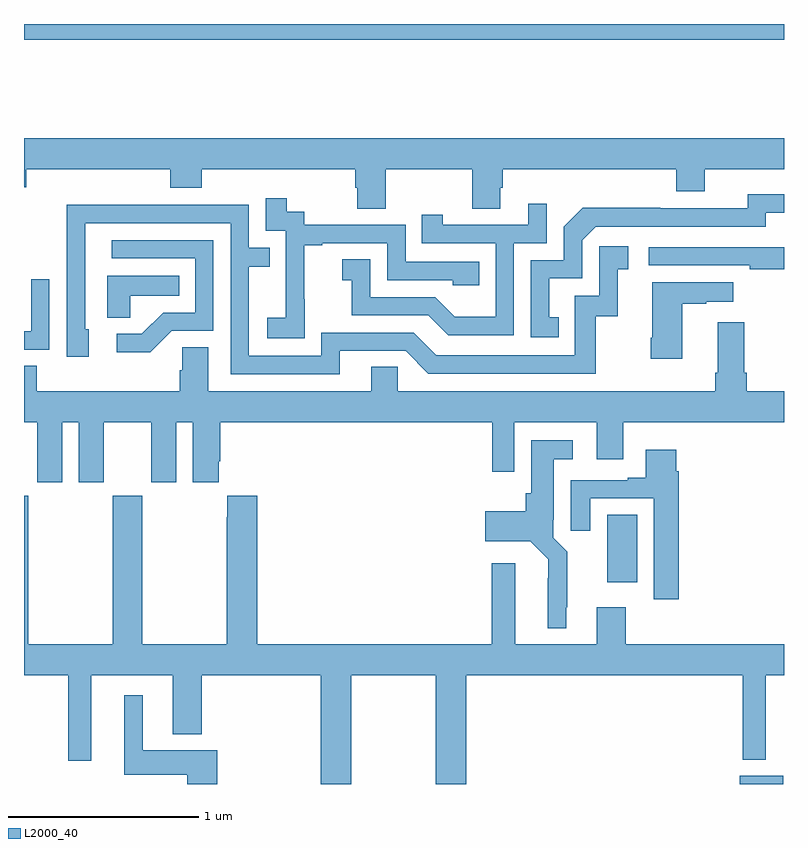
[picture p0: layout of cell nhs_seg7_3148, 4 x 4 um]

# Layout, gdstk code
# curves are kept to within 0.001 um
import gdstk
lib = gdstk.Library(unit=1e-6, precision=1e-09)
def R(c, l, rs):  # rectangles x0, y0, x1, y1
    for r in rs: c.add(gdstk.rectangle(r[:2], r[2:], *l))
def P(c, l, *ps):  # polygons
    for p in ps: c.add(gdstk.Polygon(p, *l))
L2000_40 = (2000, 40)

nhs_seg7_3148 = lib.new_cell('nhs_seg7_3148')
R(nhs_seg7_3148, L2000_40, [(314.768,1044,314.995,1044.043), (314.069,1045.062,314.227,1045.418), (311,1047.916,315,1048)])
P(nhs_seg7_3148, L2000_40, [(312.903,1047.236),(313.36,1047.236),(313.36,1047.028),(313.507,1047.028),(313.507,1047.138),(313.52,1047.138),(313.52,1047.236),(314.432,1047.236),(314.432,1047.119),(314.584,1047.119),(314.584,1047.236),(315,1047.236),(315,1047.4),(311,1047.4),(311,1047.14),(311.012,1047.14),(311.012,1047.236),(311.771,1047.236),(311.771,1047.137),(311.936,1047.137),(311.936,1047.236),(312.743,1047.236),(312.743,1047.138),(312.755,1047.138),(312.755,1047.028),(312.903,1047.028)],
  [(313.814,1046.457),(313.765,1046.457),(313.765,1046.661),(313.938,1046.661),(313.938,1046.862),(314.01,1046.934),(314.904,1046.934),(314.904,1047.006),(315,1047.006),(315,1047.103),(314.808,1047.103),(314.808,1047.03),(314.348,1047.03),(314.348,1047.032),(313.94,1047.032),(313.842,1046.934),(313.842,1046.757),(313.668,1046.757),(313.668,1046.352),(313.814,1046.352)],
  [(312.477,1046.551),(312.476,1046.551),(312.476,1046.835),(312.571,1046.835),(312.571,1046.847),(312.912,1046.847),(312.912,1046.652),(313.257,1046.652),(313.257,1046.625),(313.397,1046.625),(313.397,1046.748),(313.008,1046.748),(313.008,1046.943),(312.474,1046.943),(312.474,1047.012),(312.382,1047.012),(312.382,1047.082),(312.273,1047.082),(312.273,1046.913),(312.378,1046.913),(312.378,1046.684),(312.377,1046.684),(312.377,1046.455),(312.279,1046.455),(312.279,1046.345),(312.477,1046.345)],
  [(313.578,1046.847),(313.752,1046.847),(313.752,1047.055),(313.655,1047.055),(313.655,1046.943),(313.204,1046.943),(313.204,1046.995),(313.093,1046.995),(313.093,1046.847),(313.482,1046.847),(313.482,1046.458),(313.268,1046.458),(313.164,1046.562),(312.822,1046.562),(312.822,1046.761),(312.675,1046.761),(312.675,1046.651),(312.724,1046.651),(312.724,1046.466),(313.127,1046.466),(313.232,1046.361),(313.578,1046.361)],
  [(312.661,1046.28),(313.008,1046.28),(313.128,1046.16),(314.008,1046.16),(314.008,1046.463),(314.126,1046.463),(314.126,1046.709),(314.179,1046.709),(314.179,1046.83),(314.028,1046.83),(314.028,1046.571),(313.899,1046.571),(313.899,1046.256),(313.17,1046.256),(313.05,1046.376),(312.564,1046.376),(312.564,1046.253),(312.183,1046.253),(312.183,1046.722),(312.293,1046.722),(312.293,1046.823),(312.183,1046.823),(312.183,1047.048),(311.687,1047.048),(311.687,1047.05),(311.224,1047.05),(311.224,1046.743),(311.226,1046.743),(311.226,1046.25),(311.341,1046.25),(311.341,1046.394),(311.322,1046.394),(311.322,1046.952),(312.087,1046.952),(312.087,1046.157),(312.661,1046.157)],
  [(311.778,1046.385),(311.997,1046.385),(311.997,1046.862),(311.463,1046.862),(311.463,1046.766),(311.901,1046.766),(311.901,1046.481),(311.732,1046.481),(311.621,1046.37),(311.487,1046.37),(311.487,1046.273),(311.665,1046.273)],
  [(315,1046.826),(314.289,1046.826),(314.289,1046.73),(314.821,1046.73),(314.821,1046.71),(315,1046.71)],
  [(311.559,1046.57),(311.816,1046.57),(311.816,1046.674),(311.438,1046.674),(311.438,1046.455),(311.559,1046.455)],
  [(311.133,1046.656),(311.037,1046.656),(311.037,1046.382),(311,1046.382),(311,1046.286),(311.133,1046.286)],
  [(314.464,1046.527),(314.591,1046.527),(314.591,1046.537),(314.734,1046.537),(314.734,1046.641),(314.306,1046.641),(314.306,1046.35),(314.299,1046.35),(314.299,1046.238),(314.464,1046.238)],
  [(311.2,1045.904),(311.288,1045.904),(311.288,1045.587),(311.419,1045.587),(311.419,1045.904),(311.669,1045.904),(311.669,1045.587),(311.8,1045.587),(311.8,1045.904),(311.888,1045.904),(311.888,1045.587),(312.025,1045.587),(312.025,1045.699),(312.032,1045.699),(312.032,1045.904),(313.465,1045.904),(313.465,1045.644),(313.581,1045.644),(313.581,1045.904),(314.015,1045.904),(314.015,1045.71),(314.155,1045.71),(314.155,1045.904),(315,1045.904),(315,1046.068),(314.804,1046.068),(314.804,1046.164),(314.791,1046.164),(314.791,1046.43),(314.651,1046.43),(314.651,1046.164),(314.639,1046.164),(314.639,1046.068),(312.966,1046.068),(312.966,1046.195),(312.827,1046.195),(312.827,1046.068),(311.971,1046.068),(311.971,1046.3),(311.832,1046.3),(311.832,1046.177),(311.819,1046.177),(311.819,1046.068),(311.066,1046.068),(311.066,1046.201),(311,1046.201),(311,1045.904),(311.069,1045.904),(311.069,1045.587),(311.2,1045.587)],
  [(313.855,1044.931),(313.858,1044.931),(313.858,1045.223),(313.785,1045.296),(313.785,1045.39),(313.789,1045.39),(313.789,1045.709),(313.888,1045.709),(313.888,1045.81),(313.67,1045.81),(313.67,1045.53),(313.64,1045.53),(313.64,1045.435),(313.428,1045.435),(313.428,1045.277),(313.665,1045.277),(313.758,1045.184),(313.757,1044.821),(313.855,1044.821)],
  [(314.447,1045.646),(314.434,1045.646),(314.434,1045.759),(314.273,1045.759),(314.273,1045.612),(314.177,1045.612),(314.177,1045.599),(313.877,1045.599),(313.877,1045.332),(313.981,1045.332),(313.981,1045.503),(314.315,1045.503),(314.315,1044.972),(314.447,1044.972)],
  [(311.022,1045.516),(311,1045.516),(311,1044.572),(311.232,1044.572),(311.232,1044.123),(311.353,1044.123),(311.353,1044.572),(311.783,1044.572),(311.783,1044.263),(311.936,1044.263),(311.936,1044.572),(312.563,1044.572),(312.563,1044),(312.723,1044),(312.723,1044.572),(313.168,1044.572),(313.168,1044),(313.328,1044),(313.328,1044.572),(314.784,1044.572),(314.784,1044.128),(314.905,1044.128),(314.905,1044.572),(315,1044.572),(315,1044.736),(314.168,1044.736),(314.168,1044.93),(314.015,1044.93),(314.015,1044.736),(313.585,1044.736),(313.585,1045.162),(313.463,1045.162),(313.463,1044.736),(312.227,1044.736),(312.227,1045.516),(312.071,1045.516),(312.071,1045.403),(312.067,1045.403),(312.067,1044.736),(311.622,1044.736),(311.622,1045.516),(311.467,1045.516),(311.467,1044.736),(311.022,1044.736)],
  [(312.017,1044.178),(311.626,1044.178),(311.626,1044.466),(311.528,1044.466),(311.528,1044.05),(311.858,1044.05),(311.858,1044),(312.017,1044)])

lib.write_gds('nhs_seg7_3148.gds')
